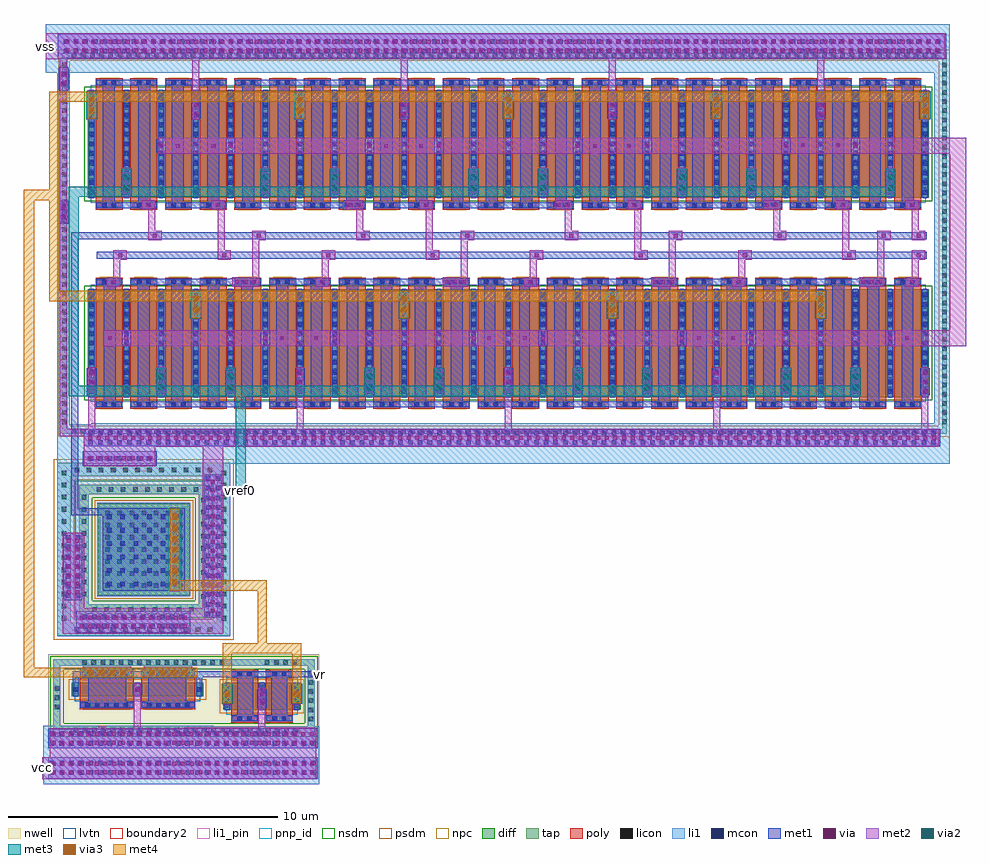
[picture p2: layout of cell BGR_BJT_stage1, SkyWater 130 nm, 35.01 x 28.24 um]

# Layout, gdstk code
import gdstk
lib = gdstk.Library(unit=1e-6, precision=1e-09)
def R(c, l, rs):  # rectangles x0, y0, x1, y1
    for r in rs: c.add(gdstk.rectangle(r[:2], r[2:], *l))
def A(c, l, x, y, w, h, nx, ny, dx, dy):  # array of equal rectangles
    R(c, l, [(x+i*dx, y+j*dy, x+i*dx+w, y+j*dy+h) for i in range(nx) for j in range(ny)])
def P(c, l, *ps):  # polygons
    for p in ps: c.add(gdstk.Polygon(p, *l))
nwell = (64, 20)
diff = (65, 20)
tap = (65, 44)
poly = (66, 20)
licon = (66, 44)
li1_pin = (67, 16)
li1 = (67, 20)
mcon = (67, 44)
met1 = (68, 20)
via = (68, 44)
met2 = (69, 20)
via2 = (69, 44)
met3 = (70, 20)
via3 = (70, 44)
met4 = (71, 20)
pnp_id = (82, 44)
nsdm = (93, 44)
psdm = (94, 20)
npc = (95, 20)
lvtn = (125, 44)
boundary2 = (236, 0)

sky130_fd_pr__pfet_01v8_ = lib.new_cell('sky130_fd_pr__pfet_01v8_lvt_KLHH7J')
R(sky130_fd_pr__pfet_01v8_, nwell, [(-1.47,-0.75,1.47,0.75)])
R(sky130_fd_pr__pfet_01v8_, diff, [(-1.29,-0.25,1.29,0.25)])
R(sky130_fd_pr__pfet_01v8_, poly, [(-1,-0.735,1,0.735)])
A(sky130_fd_pr__pfet_01v8_, licon, -0.765, -0.655, 0.17, 0.17, 5, 2, 0.34, 1.14)
R(sky130_fd_pr__pfet_01v8_, licon, [(-1.23,-0.085,-1.06,0.085), (1.06,-0.085,1.23,0.085)])
R(sky130_fd_pr__pfet_01v8_, li1, [(-1,-0.655,1,-0.485), (-1.23,-0.27,-1.06,0.27), (1.06,-0.27,1.23,0.27), (-1,0.485,1,0.655)])
A(sky130_fd_pr__pfet_01v8_, mcon, -0.805, -0.655, 0.17, 0.17, 5, 2, 0.36, 1.14)
R(sky130_fd_pr__pfet_01v8_, mcon, [(-1.23,-0.085,-1.06,0.085), (1.06,-0.085,1.23,0.085)])
R(sky130_fd_pr__pfet_01v8_, met1, [(-0.98,-0.685,0.98,-0.455), (-1.26,-0.25,-1.03,0.25), (1.03,-0.25,1.26,0.25), (-0.98,0.455,0.98,0.685)])
R(sky130_fd_pr__pfet_01v8_, psdm, [(-1.415,-0.375,1.415,0.375)])
R(sky130_fd_pr__pfet_01v8_, npc, [(-0.865,-0.755,0.865,-0.385), (-0.865,0.385,0.865,0.755)])
R(sky130_fd_pr__pfet_01v8_, lvtn, [(-1.18,-0.43,1.18,0.43)])

sky130_fd_pr__rf_pnp_05v = lib.new_cell('sky130_fd_pr__rf_pnp_05v5_W3p40L3p40')
R(sky130_fd_pr__rf_pnp_05v, nwell, [(0.765,0.765,5.935,5.935)])
R(sky130_fd_pr__rf_pnp_05v, diff, [(1.65,1.65,5.05,5.05)])
P(sky130_fd_pr__rf_pnp_05v, tap, [(0.945,0.945),(5.755,0.945),(5.755,5.755),(5.395,5.755),(5.395,1.305),(1.305,1.305),(1.305,5.395),(5.395,5.395),(5.395,5.755),(0.945,5.755)],
  [(0.13,0.13),(6.57,0.13),(6.57,6.57),(6.065,6.57),(6.065,0.635),(0.635,0.635),(0.635,6.065),(6.065,6.065),(6.065,6.57),(0.13,6.57)])
A(sky130_fd_pr__rf_pnp_05v, licon, 0.78, 0.29, 0.17, 0.17, 12, 2, 0.45, 5.935)
A(sky130_fd_pr__rf_pnp_05v, licon, 0.3, 0.71, 0.17, 0.17, 1, 13, 0, 0.45)
A(sky130_fd_pr__rf_pnp_05v, licon, 6.235, 0.71, 0.17, 0.17, 1, 13, 0, 0.45)
A(sky130_fd_pr__rf_pnp_05v, licon, 1.43, 1.04, 0.17, 0.17, 9, 1, 0.45, 0)
A(sky130_fd_pr__rf_pnp_05v, licon, 5.49, 1.51, 0.17, 0.17, 1, 9, 0, 0.45)
A(sky130_fd_pr__rf_pnp_05v, licon, 1.04, 1.605, 0.17, 0.17, 1, 9, 0, 0.45)
A(sky130_fd_pr__rf_pnp_05v, licon, 1.92, 1.92, 0.17, 0.17, 7, 7, 0.45, 0.45)
A(sky130_fd_pr__rf_pnp_05v, licon, 1.6, 5.49, 0.17, 0.17, 9, 1, 0.45, 0)
R(sky130_fd_pr__rf_pnp_05v, li1_pin, [(2.77,3.13,4.01,3.65), (2.95,5.51,3.54,5.71), (3.065,6.26,3.57,6.505)])
A(sky130_fd_pr__rf_pnp_05v, li1, 0.58, 0.21, 0.33, 0.33, 12, 1, 0.45, 0)
A(sky130_fd_pr__rf_pnp_05v, li1, 0.675, 0.24, 0.27, 0.27, 11, 2, 0.5, 5.96)
A(sky130_fd_pr__rf_pnp_05v, li1, 6.16, 0.54, 0.33, 0.33, 1, 13, 0, 0.45)
A(sky130_fd_pr__rf_pnp_05v, li1, 0.22, 0.63, 0.33, 0.33, 1, 13, 0, 0.45)
A(sky130_fd_pr__rf_pnp_05v, li1, 1.35, 0.96, 0.33, 0.33, 9, 1, 0.45, 0)
A(sky130_fd_pr__rf_pnp_05v, li1, 1.14, 0.985, 0.27, 0.27, 9, 1, 0.5, 0)
A(sky130_fd_pr__rf_pnp_05v, li1, 5.41, 1.43, 0.33, 0.33, 1, 9, 0, 0.45)
A(sky130_fd_pr__rf_pnp_05v, li1, 0.96, 1.525, 0.33, 0.33, 1, 9, 0, 0.45)
A(sky130_fd_pr__rf_pnp_05v, li1, 1.84, 1.84, 0.33, 0.33, 7, 7, 0.45, 0.45)
A(sky130_fd_pr__rf_pnp_05v, li1, 1.93, 1.93, 0.27, 0.27, 6, 6, 0.5, 0.5)
A(sky130_fd_pr__rf_pnp_05v, li1, 1.52, 5.41, 0.33, 0.33, 9, 1, 0.45, 0)
A(sky130_fd_pr__rf_pnp_05v, li1, 1.155, 5.44, 0.27, 0.27, 9, 1, 0.5, 0)
A(sky130_fd_pr__rf_pnp_05v, li1, 0.7, 6.165, 0.33, 0.33, 12, 1, 0.45, 0)
R(sky130_fd_pr__rf_pnp_05v, li1, [(1.615,1.615,5.085,5.085), (1.65,1.65,5.05,5.05)])
P(sky130_fd_pr__rf_pnp_05v, li1, [(0.13,0.13),(6.57,0.13),(6.57,6.57),(6.075,6.57),(6.075,0.625),(0.625,0.625),(0.625,6.075),(6.075,6.075),(6.075,6.57),(0.13,6.57)],
  [(0.945,0.945),(5.755,0.945),(5.755,5.755),(5.395,5.755),(5.395,1.305),(1.305,1.305),(1.305,5.395),(5.395,5.395),(5.395,5.755),(0.945,5.755)])
A(sky130_fd_pr__rf_pnp_05v, mcon, 1.98, 1.98, 0.17, 0.17, 6, 6, 0.5, 0.5)
A(sky130_fd_pr__rf_pnp_05v, met1, 1.93, 1.93, 0.27, 0.27, 6, 6, 0.5, 0.5)
R(sky130_fd_pr__rf_pnp_05v, met1, [(1.825,1.825,4.875,4.875)])
R(sky130_fd_pr__rf_pnp_05v, pnp_id, [(0.135,0.135,6.565,6.565)])
P(sky130_fd_pr__rf_pnp_05v, nsdm, [(0.805,0.805),(5.895,0.805),(5.895,5.895),(5.265,5.895),(5.265,1.435),(1.435,1.435),(1.435,5.265),(5.265,5.265),(5.265,5.895),(0.805,5.895)])
R(sky130_fd_pr__rf_pnp_05v, psdm, [(1.52,1.52,5.18,5.18)])
P(sky130_fd_pr__rf_pnp_05v, psdm, [(0,0),(6.7,0),(6.7,6.7),(5.935,6.7),(5.935,0.765),(0.765,0.765),(0.765,5.935),(5.935,5.935),(5.935,6.7),(0,6.7)])
R(sky130_fd_pr__rf_pnp_05v, boundary2, [(0.13,0.13,6.57,6.57)])
sky130_fd_pr__rf_pnp_05v.add(gdstk.Label('Emitter', (3.39,3.39), layer=67, texttype=5))
sky130_fd_pr__rf_pnp_05v.add(gdstk.Label('Collector', (3.32,6.38), layer=67, texttype=5))
sky130_fd_pr__rf_pnp_05v.add(gdstk.Label('Base', (3.245,5.61), layer=67, texttype=5))

c_sky130_fd_pr__pfet_01v8_ = lib.new_cell('sky130_fd_pr__pfet_01v8_lvt_QCPJZY')
R(c_sky130_fd_pr__pfet_01v8_, nwell, [(-0.97,-1,0.97,1)])
R(c_sky130_fd_pr__pfet_01v8_, diff, [(-0.79,-0.5,0.79,0.5)])
R(c_sky130_fd_pr__pfet_01v8_, poly, [(-0.5,-0.985,0.5,0.985)])
A(c_sky130_fd_pr__pfet_01v8_, licon, -0.73, -0.425, 0.17, 0.17, 1, 3, 0, 0.34)
A(c_sky130_fd_pr__pfet_01v8_, licon, 0.56, -0.425, 0.17, 0.17, 1, 3, 0, 0.34)
R(c_sky130_fd_pr__pfet_01v8_, licon, [(-0.255,-0.905,-0.085,-0.735), (0.085,-0.905,0.255,-0.735), (-0.255,0.735,-0.085,0.905), (0.085,0.735,0.255,0.905)])
R(c_sky130_fd_pr__pfet_01v8_, li1, [(-0.5,-0.905,0.5,-0.735), (-0.73,-0.52,-0.56,0.52), (0.56,-0.52,0.73,0.52), (-0.5,0.735,0.5,0.905)])
R(c_sky130_fd_pr__pfet_01v8_, mcon, [(-0.265,-0.905,-0.095,-0.735), (0.095,-0.905,0.265,-0.735), (-0.73,-0.265,-0.56,-0.095), (0.56,-0.265,0.73,-0.095), (-0.73,0.095,-0.56,0.265), (0.56,0.095,0.73,0.265), (-0.265,0.735,-0.095,0.905), (0.095,0.735,0.265,0.905)])
R(c_sky130_fd_pr__pfet_01v8_, met1, [(-0.48,-0.935,0.48,-0.705), (-0.76,-0.5,-0.53,0.5), (0.53,-0.5,0.76,0.5), (-0.48,0.705,0.48,0.935)])
R(c_sky130_fd_pr__pfet_01v8_, psdm, [(-0.915,-0.625,0.915,0.625)])
R(c_sky130_fd_pr__pfet_01v8_, npc, [(-0.355,-1.005,0.355,-0.635), (-0.355,0.635,0.355,1.005)])
R(c_sky130_fd_pr__pfet_01v8_, lvtn, [(-0.68,-0.68,0.68,0.68)])

sky130_fd_pr__nfet_01v8_ = lib.new_cell('sky130_fd_pr__nfet_01v8_lvt_UZ3GQ2')
R(sky130_fd_pr__nfet_01v8_, diff, [(-0.79,-2,0.79,2)])
R(sky130_fd_pr__nfet_01v8_, poly, [(-0.5,-2.44,0.5,2.44)])
A(sky130_fd_pr__nfet_01v8_, licon, -0.73, -1.785, 0.17, 0.17, 1, 11, 0, 0.34)
A(sky130_fd_pr__nfet_01v8_, licon, 0.56, -1.785, 0.17, 0.17, 1, 11, 0, 0.34)
R(sky130_fd_pr__nfet_01v8_, licon, [(-0.255,-2.36,-0.085,-2.19), (0.085,-2.36,0.255,-2.19), (-0.255,2.19,-0.085,2.36), (0.085,2.19,0.255,2.36)])
R(sky130_fd_pr__nfet_01v8_, li1, [(-0.5,-2.36,0.5,-2.19), (-0.73,-2.02,-0.56,2.02), (0.56,-2.02,0.73,2.02), (-0.5,2.19,0.5,2.36)])
A(sky130_fd_pr__nfet_01v8_, mcon, -0.73, -1.885, 0.17, 0.17, 1, 11, 0, 0.36)
A(sky130_fd_pr__nfet_01v8_, mcon, 0.56, -1.885, 0.17, 0.17, 1, 11, 0, 0.36)
R(sky130_fd_pr__nfet_01v8_, mcon, [(-0.265,-2.36,-0.095,-2.19), (0.095,-2.36,0.265,-2.19), (-0.265,2.19,-0.095,2.36), (0.095,2.19,0.265,2.36)])
R(sky130_fd_pr__nfet_01v8_, met1, [(-0.48,-2.39,0.48,-2.16), (-0.76,-2,-0.53,2), (0.53,-2,0.76,2), (-0.48,2.16,0.48,2.39)])
R(sky130_fd_pr__nfet_01v8_, nsdm, [(-0.915,-2.125,0.915,2.125)])
R(sky130_fd_pr__nfet_01v8_, npc, [(-0.355,-2.46,0.355,-2.09), (-0.355,2.09,0.355,2.46)])
R(sky130_fd_pr__nfet_01v8_, lvtn, [(-0.68,-2.18,0.68,2.18)])

bgr_bjt_stage1 = lib.new_cell('BGR_BJT_stage1')
R(bgr_bjt_stage1, nwell, [(27.67,-15.24,37.725,-15.235), (27.65,-15.235,37.725,-12.08), (27.65,-12.08,33.57,-12.075)])
R(bgr_bjt_stage1, tap, [(27.84,-15.02,37.545,-14.76), (27.84,-14.76,28.1,-12.51), (37.3,-14.76,37.545,-12.51), (27.84,-12.51,37.545,-12.27), (28.15,-3.88,61.03,-3.71), (28.15,-3.71,28.32,10.095), (60.86,-3.71,61.03,10.095), (28.15,10.095,61.03,10.265)])
A(bgr_bjt_stage1, licon, 28.6, -14.975, 0.17, 0.17, 25, 1, 0.34, 0)
A(bgr_bjt_stage1, licon, 37.335, -14.57, 0.17, 0.17, 1, 6, 0, 0.34)
A(bgr_bjt_stage1, licon, 27.885, -14.12, 0.17, 0.17, 1, 3, 0, 0.34)
A(bgr_bjt_stage1, licon, 28.915, -12.475, 0.17, 0.17, 16, 1, 0.34, 0)
A(bgr_bjt_stage1, licon, 35.7, -12.475, 0.17, 0.17, 4, 1, 0.34, 0)
A(bgr_bjt_stage1, licon, 28.525, -3.88, 0.17, 0.17, 95, 2, 0.34, 13.975)
A(bgr_bjt_stage1, licon, 28.15, -3.525, 0.17, 0.17, 1, 40, 0, 0.34)
A(bgr_bjt_stage1, licon, 60.86, -3.525, 0.17, 0.17, 1, 40, 0, 0.34)
R(bgr_bjt_stage1, li1, [(27.455,-16.9,37.72,-14.745), (27.455,-14.745,33.825,-14.735), (37.3,-14.745,37.545,-12.51), (27.455,-14.735,28.655,-14.73), (28.885,-14.735,33.825,-14.73), (27.84,-14.73,28.1,-12.51), (28.69,-13.64,28.76,-13.12), (27.84,-12.51,37.545,-12.27), (28.75,-11.245,32.875,-11.025), (33.535,-11.12,34.045,-11.025), (28.25,-11.025,34.045,-10.44), (28.33,-10.44,28.895,-10.015), (33.5,-10.44,34.045,-5.82), (28.265,-10.015,28.895,-7.62), (28.33,-7.62,28.895,-7.03), (28.33,-7.03,28.985,-5.82), (28.33,-5.82,34.125,-5.41), (28.33,-5.41,28.985,-5.38), (27.985,-5.105,28.88,-5.095), (31.36,-5.105,31.715,-5.095), (27.985,-5.095,31.715,-4.995), (27.985,-4.995,61.145,-4.535), (27.99,-4.535,61.145,-3.53), (27.99,-3.53,28.45,9.535), (29.25,-3.53,61.145,-3.495), (60.565,-3.495,61.145,9.535), (27.555,9.535,61.145,11.34)])
A(bgr_bjt_stage1, mcon, 27.71, -16.565, 0.17, 0.17, 28, 2, 0.36, 0.36)
A(bgr_bjt_stage1, mcon, 27.705, -15.47, 0.17, 0.17, 28, 1, 0.36, 0)
A(bgr_bjt_stage1, mcon, 27.705, -15.11, 0.17, 0.17, 26, 1, 0.36, 0)
A(bgr_bjt_stage1, mcon, 28.925, -11.14, 0.17, 0.17, 11, 2, 0.36, 0.36)
A(bgr_bjt_stage1, mcon, 33.505, -10.67, 0.17, 0.17, 1, 15, 0, 0.36)
A(bgr_bjt_stage1, mcon, 33.865, -10.67, 0.17, 0.17, 1, 15, 0, 0.36)
A(bgr_bjt_stage1, mcon, 28.3, -9.985, 0.17, 0.17, 1, 7, 0, 0.36)
A(bgr_bjt_stage1, mcon, 28.66, -9.985, 0.17, 0.17, 1, 7, 0, 0.36)
A(bgr_bjt_stage1, mcon, 29.145, -4.885, 0.17, 0.17, 7, 1, 0.36, 0)
A(bgr_bjt_stage1, mcon, 29.14, -4.3, 0.17, 0.17, 88, 2, 0.36, 0.36)
A(bgr_bjt_stage1, mcon, 28.23, 10.25, 0.17, 0.17, 91, 2, 0.36, 0.36)
R(bgr_bjt_stage1, mcon, [(28.135,4.085,28.305,4.255), (28.135,4.445,28.305,4.615), (28.135,9.025,28.305,9.195), (28.135,9.385,28.305,9.555)])
A(bgr_bjt_stage1, met1, 29.085, -2.46, 0.36, 1, 5, 1, 7.74, 0)
A(bgr_bjt_stage1, met1, 32.925, 0.42, 0.42, 1, 4, 1, 7.74, 0)
A(bgr_bjt_stage1, met1, 42.26, 1.625, 1.02, 0.015, 3, 2, 7.74, 0.245)
A(bgr_bjt_stage1, met1, 29.055, 7.825, 0.42, 1, 5, 1, 7.74, 0)
R(bgr_bjt_stage1, met1, [(27.65,-16.7,37.665,-15.9), (32.61,-15.57,37.66,-15.565), (27.645,-15.565,37.66,-14.845), (32.61,-14.845,37.66,-14.835), (34.68,-14.355,35.27,-12.935), (35.94,-14.35,36.53,-12.935), (35.41,-14.08,35.77,-13.38), (34.09,-13.9,34.51,-13.2), (36.67,-13.9,37.09,-13.2), (29.135,-13.865,30.545,-12.93), (31.37,-13.85,32.78,-12.935), (30.785,-13.58,31.145,-13.2), (28.56,-13.15,28.79,-12.935), (33.14,-13.145,33.37,-12.935), (28.56,-12.935,28.89,-12.925), (30.79,-12.935,31.135,-12.705), (31.37,-12.935,37.75,-12.925), (28.56,-12.925,30.78,-12.705), (31.155,-12.925,37.75,-12.705), (28.885,-12.705,30.78,-12.6), (31.155,-12.705,33.05,-12.6), (28.69,-11.275,32.935,-10.475), (33.47,-10.73,34.07,-10.67), (33.45,-10.67,34.09,-5.455), (28.235,-10.075,28.895,-10.015), (28.215,-10.015,28.915,-7.62), (32.115,-9.685,32.585,-6.685), (28.235,-7.62,28.895,-7.56), (28.505,-6.92,29.675,-6.66), (28.505,-6.66,28.765,3.35), (33.47,-5.455,34.07,-5.395), (28.935,-5.07,31.69,-4.53), (28.97,-4.345,60.8,-3.725), (31.675,-2.91,32.02,-2.68), (32.945,-2.91,33.315,-2.68), (34.25,-2.91,34.61,-2.68), (36.83,-2.91,37.18,-2.68), (39.405,-2.91,39.755,-2.68), (40.7,-2.91,41.05,-2.68), (41.995,-2.91,42.34,-2.68), (44.57,-2.91,44.93,-2.68), (47.155,-2.91,47.51,-2.68), (48.435,-2.91,48.8,-2.68), (49.725,-2.91,50.085,-2.68), (52.305,-2.91,52.66,-2.68), (54.895,-2.91,55.24,-2.68), (56.18,-2.91,56.54,-2.68), (57.475,-2.91,57.82,-2.68), (45.145,-2.715,45.55,1.625), (52.865,-2.71,53.395,1.625), (29.715,-2.705,30.155,1.625), (32.22,-2.705,32.66,1.68), (37.4,-2.705,37.84,1.625), (38.735,-2.705,39.175,1.68), (42.615,-2.705,43.055,1.625), (43.845,-2.705,44.25,1.665), (55.495,-2.705,55.935,1.68), (58.09,-2.705,58.53,1.625), (59.355,-2.705,59.795,1.625), (30.975,-2.695,31.415,1.69), (33.57,-2.695,34.01,1.69), (36.13,-2.695,36.57,1.69), (40,-2.695,40.44,1.69), (41.26,-2.695,41.7,1.69), (46.455,-2.695,46.895,1.69), (47.735,-2.695,48.175,1.69), (49.04,-2.695,49.48,1.69), (50.315,-2.695,50.755,1.625), (51.59,-2.695,52.12,1.685), (54.215,-2.695,54.655,1.69), (56.79,-2.695,57.23,1.69), (34.815,-2.685,35.255,1.625), (34.235,-2.46,34.615,-1.46), (39.395,-2.46,39.775,-1.46), (41.975,-2.46,42.355,-1.46), (47.135,-2.46,47.515,-1.46), (49.715,-2.46,50.095,-1.46), (54.875,-2.46,55.255,-1.46), (57.455,-2.46,57.835,-1.46), (31.655,-2.455,32.035,-1.455), (30.375,-0.585,30.735,-0.085), (35.535,-0.585,35.895,-0.085), (38.115,-0.585,38.475,-0.085), (43.275,-0.585,43.635,-0.085), (51.015,-0.585,51.375,-0.085), (53.595,-0.585,53.955,-0.085), (58.755,-0.585,59.115,-0.085), (45.855,-0.58,46.215,-0.08), (29.715,1.625,30.38,1.68), (34.44,1.625,35.54,1.64), (37.4,1.625,38.12,1.68), (45.145,1.625,45.86,1.655), (52.865,1.625,53.6,1.67), (59.355,1.625,60.05,1.68), (31.67,1.64,32.015,1.87), (32.965,1.64,33.31,1.87), (34.25,1.64,35.54,1.87), (36.83,1.64,37.18,1.87), (39.41,1.64,39.76,1.87), (40.705,1.64,41.055,1.87), (41.995,1.64,43.28,1.87), (44.565,1.64,44.925,1.87), (47.15,1.64,47.615,1.87), (48.39,1.64,48.8,1.87), (49.735,1.64,51.02,1.87), (52.315,1.64,52.67,1.87), (54.885,1.64,55.23,1.87), (56.175,1.64,56.535,1.87), (57.47,1.64,58.76,1.87), (45.26,1.655,45.86,1.885), (53,1.67,53.6,1.885), (29.78,1.68,30.38,1.885), (37.52,1.68,38.12,1.885), (59.45,1.68,60.05,1.885), (34.44,1.87,35.54,1.885), (29.46,2.625,60.29,2.885), (28.505,3.35,60.29,3.61), (28.055,3.92,28.385,3.98), (28.035,3.98,28.405,4.72), (38.615,4.43,38.84,4.48), (31.07,4.48,31.67,4.705), (33.65,4.48,34.25,4.695), (38.615,4.48,39.41,4.74), (41.39,4.48,41.99,4.695), (46.4,4.48,47.15,4.74), (49.13,4.48,49.73,4.705), (54.185,4.48,54.89,4.495), (56.87,4.48,57.47,4.725), (59.45,4.48,60.05,4.705), (30.385,4.495,30.735,4.725), (32.955,4.495,33.405,4.725), (35.535,4.495,35.92,4.725), (36.825,4.495,37.195,4.725), (38.125,4.495,38.57,4.725), (40.7,4.495,41.065,4.725), (43.275,4.495,43.64,4.725), (44.575,4.495,44.94,4.725), (45.86,4.495,46.315,4.725), (48.44,4.495,48.8,4.725), (51.025,4.495,51.385,4.725), (52.31,4.495,52.665,4.725), (53.6,4.495,54,4.725), (54.185,4.495,54.9,4.715), (55.23,4.495,55.245,4.725), (56.185,4.495,56.535,4.725), (58.76,4.495,59.115,4.725), (33.56,4.695,34.25,4.74), (34.865,4.695,35.305,9.08), (41.3,4.695,41.99,4.74), (47.745,4.695,48.185,9.08), (30.995,4.705,31.67,4.74), (37.43,4.705,37.87,9.09), (39.99,4.705,40.455,9.075), (43.905,4.705,44.345,9.09), (49.03,4.705,49.73,4.74), (50.365,4.705,50.805,9.09), (51.585,4.705,52.025,9.09), (52.91,4.705,53.35,9.09), (58.15,4.705,58.59,9.09), (59.365,4.705,60.05,4.74), (29.675,4.715,30.12,9.06), (32.24,4.715,32.685,9.06), (36.18,4.715,36.62,9.1), (42.625,4.715,43.065,9.1), (45.19,4.715,45.63,9.1), (54.165,4.715,54.9,4.725), (55.495,4.715,55.935,9.1), (28.055,4.72,28.385,4.78), (54.165,4.725,54.89,4.74), (56.78,4.725,57.47,4.74), (30.995,4.74,31.44,9.05), (33.56,4.74,34,9.08), (38.615,4.74,39.165,4.79), (41.3,4.74,41.74,9.08), (46.485,4.74,46.925,9.1), (49.03,4.74,49.47,9.09), (54.165,4.74,54.605,9.1), (56.78,4.74,57.22,9.11), (59.365,4.74,59.805,9.09), (38.725,4.79,39.165,9.1), (54.95,4.885,55.18,6.275), (30.365,4.945,30.745,5.945), (35.525,4.945,35.905,5.945), (38.105,4.945,38.485,5.945), (43.265,4.945,43.645,5.945), (45.845,4.945,46.225,5.945), (51.005,4.945,51.385,5.945), (53.585,4.945,53.965,5.945), (58.745,4.945,59.125,5.945), (53.66,6.425,53.89,7.205), (31.665,6.565,32.025,7.065), (34.245,6.565,34.605,7.065), (39.405,6.565,39.765,7.065), (41.985,6.565,42.345,7.065), (47.145,6.565,47.505,7.065), (49.725,6.565,50.085,7.065), (54.885,6.565,55.245,7.065), (57.465,6.565,57.825,7.065), (32.955,7.825,33.315,8.825), (40.695,7.825,41.055,8.825), (48.43,7.825,48.79,8.825), (56.175,7.825,56.535,8.825), (28.055,8.85,28.385,8.91), (28.035,8.91,28.405,9.67), (30.37,9.045,30.82,9.275), (32.945,9.045,33.325,9.275), (35.525,9.045,35.91,9.275), (36.825,9.045,37.195,9.275), (38.12,9.045,38.515,9.275), (40.7,9.045,41.065,9.275), (43.275,9.045,43.64,9.275), (44.575,9.045,44.94,9.275), (45.85,9.045,46.21,9.275), (48.44,9.045,48.8,9.275), (51.025,9.045,51.385,9.275), (52.31,9.045,52.665,9.275), (53.6,9.045,53.965,9.275), (56.185,9.045,56.535,9.275), (58.76,9.045,59.115,9.275), (28.055,9.67,28.385,9.73), (28.01,10.05,61.02,10.98)])
A(bgr_bjt_stage1, via, 27.78, -16.535, 0.15, 0.15, 31, 2, 0.32, 0.32)
A(bgr_bjt_stage1, via, 27.775, -15.44, 0.15, 0.15, 31, 2, 0.32, 0.32)
A(bgr_bjt_stage1, via, 29.115, -12.84, 0.15, 0.15, 5, 1, 0.32, 0)
A(bgr_bjt_stage1, via, 31.385, -12.84, 0.15, 0.15, 5, 1, 0.32, 0)
A(bgr_bjt_stage1, via, 28.815, -11.11, 0.15, 0.15, 13, 2, 0.32, 0.32)
A(bgr_bjt_stage1, via, 33.695, -10.54, 0.15, 0.15, 1, 16, 0, 0.32)
A(bgr_bjt_stage1, via, 28.33, -9.855, 0.15, 0.15, 1, 7, 0, 0.32)
A(bgr_bjt_stage1, via, 28.65, -9.855, 0.15, 0.15, 1, 7, 0, 0.32)
A(bgr_bjt_stage1, via, 32.275, -9.54, 0.15, 0.15, 1, 9, 0, 0.32)
A(bgr_bjt_stage1, via, 29.115, -4.875, 0.15, 0.15, 8, 1, 0.32, 0)
A(bgr_bjt_stage1, via, 29.13, -4.11, 0.15, 0.15, 99, 1, 0.32, 0)
A(bgr_bjt_stage1, via, 29.19, -2.355, 0.15, 0.15, 1, 3, 0, 0.32)
A(bgr_bjt_stage1, via, 34.35, -2.355, 0.15, 0.15, 11, 3, 2.58, 0.32)
A(bgr_bjt_stage1, via, 31.77, -2.35, 0.15, 0.15, 1, 3, 0, 0.32)
A(bgr_bjt_stage1, via, 33.06, 0.525, 0.15, 0.15, 4, 3, 7.74, 0.32)
A(bgr_bjt_stage1, via, 34.595, 1.68, 0.15, 0.15, 3, 1, 0.32, 0)
A(bgr_bjt_stage1, via, 42.375, 1.68, 0.15, 0.15, 3, 1, 0.32, 0)
A(bgr_bjt_stage1, via, 50.115, 1.68, 0.15, 0.15, 3, 1, 0.32, 0)
A(bgr_bjt_stage1, via, 57.855, 1.68, 0.15, 0.15, 3, 1, 0.32, 0)
A(bgr_bjt_stage1, via, 30.245, 2.68, 0.15, 0.15, 8, 1, 3.87, 0)
A(bgr_bjt_stage1, via, 31.535, 3.405, 0.15, 0.15, 8, 1, 3.87, 0)
A(bgr_bjt_stage1, via, 30.48, 5.05, 0.15, 0.15, 1, 3, 0, 0.32)
A(bgr_bjt_stage1, via, 35.64, 5.05, 0.15, 0.15, 1, 3, 0, 0.32)
A(bgr_bjt_stage1, via, 38.22, 5.05, 0.15, 0.15, 1, 3, 0, 0.32)
A(bgr_bjt_stage1, via, 43.38, 5.05, 0.15, 0.15, 1, 3, 0, 0.32)
A(bgr_bjt_stage1, via, 45.96, 5.05, 0.15, 0.15, 1, 3, 0, 0.32)
A(bgr_bjt_stage1, via, 51.12, 5.05, 0.15, 0.15, 1, 3, 0, 0.32)
A(bgr_bjt_stage1, via, 53.7, 5.05, 0.15, 0.15, 1, 3, 0, 0.32)
A(bgr_bjt_stage1, via, 58.86, 5.05, 0.15, 0.15, 1, 3, 0, 0.32)
A(bgr_bjt_stage1, via, 29.19, 7.93, 0.15, 0.15, 5, 3, 3.87, 0.32)
A(bgr_bjt_stage1, via, 48.535, 7.93, 0.15, 0.15, 1, 3, 0, 0.32)
A(bgr_bjt_stage1, via, 52.41, 7.93, 0.15, 0.15, 3, 3, 3.87, 0.32)
A(bgr_bjt_stage1, via, 28.28, 10.28, 0.15, 0.15, 102, 2, 0.32, 0.32)
R(bgr_bjt_stage1, via, [(35.515,-13.965,35.665,-13.815), (34.225,-13.785,34.375,-13.635), (36.805,-13.785,36.955,-13.635), (35.515,-13.645,35.665,-13.495), (30.89,-13.465,31.04,-13.315), (34.225,-13.465,34.375,-13.315), (36.805,-13.465,36.955,-13.315), (29.865,-0.42,30.015,-0.27), (45.275,-0.42,45.425,-0.27), (51.755,-0.42,51.905,-0.27), (30.48,-0.41,30.63,-0.26), (35.64,-0.41,35.79,-0.26), (38.22,-0.41,38.37,-0.26), (43.38,-0.41,43.53,-0.26), (43.965,-0.41,44.115,-0.26), (51.12,-0.41,51.27,-0.26), (53.03,-0.41,53.18,-0.26), (53.7,-0.41,53.85,-0.26), (58.86,-0.41,59.01,-0.26), (36.255,-0.405,36.405,-0.255), (45.96,-0.405,46.11,-0.255), (37.535,-0.4,37.685,-0.25), (59.49,-0.4,59.64,-0.25), (30.005,1.68,30.155,1.83), (37.745,1.68,37.895,1.83), (45.485,1.68,45.635,1.83), (53.225,1.68,53.375,1.83), (59.675,1.68,59.825,1.83), (59.915,2.68,60.065,2.83), (59.915,3.405,60.065,3.555), (28.145,4.115,28.295,4.265), (28.145,4.435,28.295,4.585), (31.295,4.535,31.445,4.685), (33.875,4.535,34.025,4.685), (38.81,4.535,38.96,4.685), (39.13,4.535,39.28,4.685), (41.615,4.535,41.765,4.685), (46.55,4.535,46.7,4.685), (46.87,4.535,47.02,4.685), (49.355,4.535,49.505,4.685), (54.29,4.535,54.44,4.685), (54.61,4.535,54.76,4.685), (57.095,4.535,57.245,4.685), (59.675,4.535,59.825,4.685), (47.9,6.73,48.05,6.88), (41.435,6.735,41.585,6.885), (31.77,6.74,31.92,6.89), (32.39,6.74,32.54,6.89), (33.715,6.74,33.865,6.89), (34.35,6.74,34.5,6.89), (39.51,6.74,39.66,6.89), (42.09,6.74,42.24,6.89), (47.25,6.74,47.4,6.89), (49.83,6.74,49.98,6.89), (54.99,6.74,55.14,6.89), (57.57,6.74,57.72,6.89), (40.125,6.745,40.275,6.895), (49.16,6.745,49.31,6.895), (55.615,6.755,55.765,6.905), (56.925,6.755,57.075,6.905), (28.145,9.055,28.295,9.205), (28.145,9.375,28.295,9.525)])
A(bgr_bjt_stage1, met2, 29.135, -3.705, 0.26, 2.295, 5, 1, 7.74, 0)
A(bgr_bjt_stage1, met2, 32.975, 0.37, 0.32, 1.1, 4, 1, 7.74, 0)
A(bgr_bjt_stage1, met2, 29.83, 1.575, 0.5, 0.36, 4, 1, 7.74, 0)
A(bgr_bjt_stage1, met2, 42.31, 1.575, 0.92, 0.36, 3, 1, 7.74, 0)
A(bgr_bjt_stage1, met2, 30.07, 1.935, 0.26, 0.64, 4, 1, 7.74, 0)
A(bgr_bjt_stage1, met2, 35.23, 1.935, 0.26, 1.365, 4, 1, 7.74, 0)
A(bgr_bjt_stage1, met2, 30.07, 2.575, 0.5, 0.36, 8, 1, 3.87, 0)
A(bgr_bjt_stage1, met2, 33.94, 2.935, 0.26, 1.495, 4, 1, 7.74, 0)
A(bgr_bjt_stage1, met2, 31.36, 3.3, 0.5, 0.36, 8, 1, 3.87, 0)
A(bgr_bjt_stage1, met2, 31.36, 3.66, 0.26, 0.77, 4, 1, 7.74, 0)
A(bgr_bjt_stage1, met2, 33.7, 4.43, 0.5, 0.36, 4, 1, 7.74, 0)
A(bgr_bjt_stage1, met2, 29.105, 7.775, 0.32, 1.1, 5, 1, 7.74, 0)
R(bgr_bjt_stage1, met2, [(27.42,-16.72,37.605,-15.9), (27.7,-15.9,37.605,-15.88), (27.7,-15.88,37.6,-15.155), (27.705,-15.155,37.6,-14.825), (29.535,-14.825,29.795,-14.73), (30.835,-14.825,31.095,-13.15), (32.67,-14.825,37.6,-14.815), (35.46,-14.815,35.72,-13.33), (34.14,-13.95,34.46,-13.15), (36.72,-13.95,37.04,-13.15), (28.935,-12.975,30.73,-12.55), (31.205,-12.975,33,-12.55), (28.19,-11.32,34.16,-10.37), (28.19,-10.37,28.995,-7.56), (33.39,-10.37,34.16,-4.365), (32.165,-9.735,32.535,-6.635), (28.97,-5.09,31.63,-4.365), (28.97,-4.365,60.74,-3.975), (28.085,-3.975,60.74,-3.705), (28.085,-3.705,28.355,10.03), (34.285,-2.51,34.565,-1.41), (39.445,-2.51,39.725,-1.41), (42.025,-2.51,42.305,-1.41), (47.185,-2.51,47.465,-1.41), (49.765,-2.51,50.045,-1.41), (54.925,-2.51,55.205,-1.41), (57.505,-2.51,57.785,-1.41), (31.705,-2.505,31.985,-1.405), (29.81,-0.645,30.07,-0.635), (45.22,-0.645,45.48,-0.635), (51.7,-0.645,51.96,-0.635), (29.69,-0.635,61.755,-0.035), (36.2,-0.035,36.46,-0.03), (37.48,-0.035,37.74,-0.025), (45.905,-0.035,46.165,-0.03), (59.435,-0.035,59.695,-0.025), (61.155,-0.035,61.755,6.515), (34.49,1.575,35.49,1.935), (59.5,1.575,60,1.935), (59.74,1.935,60,2.575), (59.74,2.575,60.24,2.935), (59.74,3.3,60.24,3.66), (59.74,3.66,60,4.43), (31.12,4.43,31.62,4.79), (38.7,4.43,39.36,4.79), (46.47,4.43,47.1,4.79), (54.215,4.43,54.84,4.79), (59.5,4.43,60,4.79), (30.415,4.895,30.695,5.995), (35.575,4.895,35.855,5.995), (38.155,4.895,38.435,5.995), (43.315,4.895,43.595,5.995), (45.895,4.895,46.175,5.995), (51.055,4.895,51.335,5.995), (53.635,4.895,53.915,5.995), (58.795,4.895,59.075,5.995), (47.845,6.505,48.105,6.515), (41.38,6.51,41.64,6.515), (31.715,6.515,61.755,7.115), (40.07,7.115,40.33,7.12), (49.105,7.115,49.365,7.12), (55.56,7.115,55.82,7.13), (56.87,7.115,57.13,7.12), (33.005,7.775,33.265,10.03), (40.745,7.775,41.005,10.03), (48.48,7.775,48.74,10.03), (56.225,7.775,56.485,10.03), (27.555,10.03,60.96,11)])
A(bgr_bjt_stage1, via2, 29.13, -12.865, 0.2, 0.2, 4, 1, 0.4, 0)
A(bgr_bjt_stage1, via2, 31.4, -12.865, 0.2, 0.2, 4, 1, 0.4, 0)
A(bgr_bjt_stage1, via2, 32.25, -9.485, 0.2, 0.2, 1, 7, 0, 0.4)
A(bgr_bjt_stage1, via2, 33.035, 0.62, 0.2, 0.2, 4, 2, 7.74, 0.4)
A(bgr_bjt_stage1, via2, 29.165, 8.025, 0.2, 0.2, 5, 2, 7.74, 0.4)
R(bgr_bjt_stage1, via2, [(34.2,-13.85,34.4,-13.65), (36.78,-13.85,36.98,-13.65), (34.2,-13.45,34.4,-13.25), (36.78,-13.45,36.98,-13.25), (34.325,-2.26,34.525,-2.06), (39.485,-2.26,39.685,-2.06), (42.065,-2.26,42.265,-2.06), (47.225,-2.26,47.425,-2.06), (49.805,-2.26,50.005,-2.06), (54.965,-2.26,55.165,-2.06), (57.545,-2.26,57.745,-2.06), (31.745,-2.255,31.945,-2.055), (34.325,-1.86,34.525,-1.66), (39.485,-1.86,39.685,-1.66), (42.065,-1.86,42.265,-1.66), (47.225,-1.86,47.425,-1.66), (49.805,-1.86,50.005,-1.66), (54.965,-1.86,55.165,-1.66), (57.545,-1.86,57.745,-1.66), (31.745,-1.855,31.945,-1.655), (30.455,5.145,30.655,5.345), (35.615,5.145,35.815,5.345), (38.195,5.145,38.395,5.345), (43.355,5.145,43.555,5.345), (45.935,5.145,46.135,5.345), (51.095,5.145,51.295,5.345), (53.675,5.145,53.875,5.345), (58.835,5.145,59.035,5.345), (30.455,5.545,30.655,5.745), (35.615,5.545,35.815,5.745), (38.195,5.545,38.395,5.745), (43.355,5.545,43.555,5.745), (45.935,5.545,46.135,5.745), (51.095,5.545,51.295,5.745), (53.675,5.545,53.875,5.745), (58.835,5.545,59.035,5.745)])
A(bgr_bjt_stage1, met3, 32.925, 0.395, 0.42, 1.05, 4, 1, 7.74, 0)
A(bgr_bjt_stage1, met3, 29.055, 7.8, 0.42, 1.05, 5, 1, 7.74, 0)
R(bgr_bjt_stage1, met3, [(34.09,-13.925,34.51,-13.175), (36.67,-13.925,37.09,-13.175), (28.885,-12.95,30.78,-12.575), (31.155,-12.95,33.05,-12.575), (32.115,-9.71,32.585,-6.66), (34.615,-6.02,34.995,-2.485), (28.415,-2.485,57.835,-2.105), (28.415,-2.105,28.785,4.93), (31.655,-2.105,32.035,-1.43), (34.235,-2.105,34.615,-1.435), (39.395,-2.105,39.775,-1.435), (41.975,-2.105,42.355,-1.435), (47.135,-2.105,47.515,-1.435), (49.715,-2.105,50.095,-1.435), (54.875,-2.105,55.255,-1.435), (57.455,-2.105,57.835,-1.435), (30.365,4.92,30.745,4.93), (35.525,4.92,35.905,4.93), (38.105,4.92,38.485,4.93), (43.265,4.92,43.645,4.93), (45.845,4.92,46.225,4.93), (51.005,4.92,51.385,4.93), (53.585,4.92,53.965,4.93), (58.425,4.92,59.125,4.93), (28.415,4.93,59.125,5.3), (30.365,5.3,30.745,5.97), (35.525,5.3,35.905,5.97), (38.105,5.3,38.485,5.97), (43.265,5.3,43.645,5.97), (45.845,5.3,46.225,5.97), (51.005,5.3,51.385,5.97), (53.585,5.3,53.965,5.97), (58.745,5.3,59.125,5.97)])
A(bgr_bjt_stage1, via3, 29.13, -12.865, 0.2, 0.2, 4, 1, 0.4, 0)
A(bgr_bjt_stage1, via3, 31.4, -12.865, 0.2, 0.2, 4, 1, 0.4, 0)
A(bgr_bjt_stage1, via3, 32.25, -9.485, 0.2, 0.2, 1, 7, 0, 0.4)
A(bgr_bjt_stage1, via3, 33.035, 0.62, 0.2, 0.2, 4, 2, 7.74, 0.4)
A(bgr_bjt_stage1, via3, 29.165, 8.025, 0.2, 0.2, 5, 2, 7.74, 0.4)
R(bgr_bjt_stage1, via3, [(34.2,-13.65,34.4,-13.45), (36.78,-13.65,36.98,-13.45)])
A(bgr_bjt_stage1, met4, 32.97, 0.415, 0.33, 0.63, 4, 1, 7.74, 0)
A(bgr_bjt_stage1, met4, 29.1, 7.82, 0.33, 0.63, 5, 1, 7.74, 0)
R(bgr_bjt_stage1, met4, [(34.135,-13.905,34.465,-12.05), (36.715,-13.905,37.045,-12.05), (26.745,-12.94,33.19,-12.575), (26.745,-12.575,27.125,4.79), (34.135,-12.05,37.045,-11.67), (35.44,-11.67,35.77,-9.71), (32.16,-9.71,35.77,-9.33), (32.16,-9.33,32.54,-6.68), (27.685,1.045,56.52,1.425), (27.685,1.425,28.065,4.79), (26.745,4.79,28.065,5.175), (27.685,5.175,28.065,8.45), (27.685,8.45,60.39,8.83)])
R(bgr_bjt_stage1, nsdm, [(27.715,-15.145,37.67,-14.635), (27.715,-14.635,28.225,-12.635), (37.175,-14.635,37.67,-12.635), (27.715,-12.635,37.67,-12.145)])
R(bgr_bjt_stage1, psdm, [(28.025,-4.005,61.155,-3.585), (28.025,-3.585,28.445,9.97), (60.735,-3.585,61.155,9.97), (28.025,9.97,61.155,10.39)])
bgr_bjt_stage1.add(gdstk.Reference(sky130_fd_pr__pfet_01v8_, (32.11,-13.39)))
bgr_bjt_stage1.add(gdstk.Reference(sky130_fd_pr__rf_pnp_05v, (27.85,-11.535)))
bgr_bjt_stage1.add(gdstk.Reference(sky130_fd_pr__pfet_01v8_, (29.82,-13.39)))
bgr_bjt_stage1.add(gdstk.Reference(c_sky130_fd_pr__pfet_01v8_, (34.945,-13.64)))
bgr_bjt_stage1.add(gdstk.Reference(c_sky130_fd_pr__pfet_01v8_, (36.235,-13.64)))
bgr_bjt_stage1.add(gdstk.Reference(sky130_fd_pr__nfet_01v8_, (32.49,-0.52)))
bgr_bjt_stage1.add(gdstk.Reference(sky130_fd_pr__nfet_01v8_, (33.78,-0.52)))
bgr_bjt_stage1.add(gdstk.Reference(sky130_fd_pr__nfet_01v8_, (31.2,-0.52)))
bgr_bjt_stage1.add(gdstk.Reference(sky130_fd_pr__nfet_01v8_, (35.07,-0.52)))
bgr_bjt_stage1.add(gdstk.Reference(sky130_fd_pr__nfet_01v8_, (29.91,-0.52)))
bgr_bjt_stage1.add(gdstk.Reference(sky130_fd_pr__nfet_01v8_, (40.23,-0.52)))
bgr_bjt_stage1.add(gdstk.Reference(sky130_fd_pr__nfet_01v8_, (41.52,-0.52)))
bgr_bjt_stage1.add(gdstk.Reference(sky130_fd_pr__nfet_01v8_, (38.94,-0.52)))
bgr_bjt_stage1.add(gdstk.Reference(sky130_fd_pr__nfet_01v8_, (36.36,-0.52)))
bgr_bjt_stage1.add(gdstk.Reference(sky130_fd_pr__nfet_01v8_, (37.65,-0.52)))
bgr_bjt_stage1.add(gdstk.Reference(sky130_fd_pr__nfet_01v8_, (47.97,-0.52)))
bgr_bjt_stage1.add(gdstk.Reference(sky130_fd_pr__nfet_01v8_, (42.81,-0.52)))
bgr_bjt_stage1.add(gdstk.Reference(sky130_fd_pr__nfet_01v8_, (46.68,-0.52)))
bgr_bjt_stage1.add(gdstk.Reference(sky130_fd_pr__nfet_01v8_, (44.1,-0.52)))
bgr_bjt_stage1.add(gdstk.Reference(sky130_fd_pr__nfet_01v8_, (45.39,-0.52)))
bgr_bjt_stage1.add(gdstk.Reference(sky130_fd_pr__nfet_01v8_, (49.26,-0.52)))
bgr_bjt_stage1.add(gdstk.Reference(sky130_fd_pr__nfet_01v8_, (50.55,-0.52)))
bgr_bjt_stage1.add(gdstk.Reference(sky130_fd_pr__nfet_01v8_, (54.42,-0.52)))
bgr_bjt_stage1.add(gdstk.Reference(sky130_fd_pr__nfet_01v8_, (51.84,-0.52)))
bgr_bjt_stage1.add(gdstk.Reference(sky130_fd_pr__nfet_01v8_, (53.13,-0.52)))
bgr_bjt_stage1.add(gdstk.Reference(sky130_fd_pr__nfet_01v8_, (59.58,-0.52)))
bgr_bjt_stage1.add(gdstk.Reference(sky130_fd_pr__nfet_01v8_, (55.71,-0.52)))
bgr_bjt_stage1.add(gdstk.Reference(sky130_fd_pr__nfet_01v8_, (57,-0.52)))
bgr_bjt_stage1.add(gdstk.Reference(sky130_fd_pr__nfet_01v8_, (58.29,-0.52)))
bgr_bjt_stage1.add(gdstk.Reference(sky130_fd_pr__nfet_01v8_, (32.49,6.885)))
bgr_bjt_stage1.add(gdstk.Reference(sky130_fd_pr__nfet_01v8_, (31.2,6.885)))
bgr_bjt_stage1.add(gdstk.Reference(sky130_fd_pr__nfet_01v8_, (29.91,6.885)))
bgr_bjt_stage1.add(gdstk.Reference(sky130_fd_pr__nfet_01v8_, (35.07,6.885)))
bgr_bjt_stage1.add(gdstk.Reference(sky130_fd_pr__nfet_01v8_, (33.78,6.885)))
bgr_bjt_stage1.add(gdstk.Reference(sky130_fd_pr__nfet_01v8_, (36.36,6.885)))
bgr_bjt_stage1.add(gdstk.Reference(sky130_fd_pr__nfet_01v8_, (37.65,6.885)))
bgr_bjt_stage1.add(gdstk.Reference(sky130_fd_pr__nfet_01v8_, (38.94,6.885)))
bgr_bjt_stage1.add(gdstk.Reference(sky130_fd_pr__nfet_01v8_, (40.23,6.885)))
bgr_bjt_stage1.add(gdstk.Reference(sky130_fd_pr__nfet_01v8_, (41.52,6.885)))
bgr_bjt_stage1.add(gdstk.Reference(sky130_fd_pr__nfet_01v8_, (44.1,6.885)))
bgr_bjt_stage1.add(gdstk.Reference(sky130_fd_pr__nfet_01v8_, (45.39,6.885)))
bgr_bjt_stage1.add(gdstk.Reference(sky130_fd_pr__nfet_01v8_, (42.81,6.885)))
bgr_bjt_stage1.add(gdstk.Reference(sky130_fd_pr__nfet_01v8_, (46.68,6.885)))
bgr_bjt_stage1.add(gdstk.Reference(sky130_fd_pr__nfet_01v8_, (47.97,6.885)))
bgr_bjt_stage1.add(gdstk.Reference(sky130_fd_pr__nfet_01v8_, (51.84,6.885)))
bgr_bjt_stage1.add(gdstk.Reference(sky130_fd_pr__nfet_01v8_, (53.13,6.885)))
bgr_bjt_stage1.add(gdstk.Reference(sky130_fd_pr__nfet_01v8_, (50.55,6.885)))
bgr_bjt_stage1.add(gdstk.Reference(sky130_fd_pr__nfet_01v8_, (54.42,6.885)))
bgr_bjt_stage1.add(gdstk.Reference(sky130_fd_pr__nfet_01v8_, (49.26,6.885)))
bgr_bjt_stage1.add(gdstk.Reference(sky130_fd_pr__nfet_01v8_, (59.58,6.885)))
bgr_bjt_stage1.add(gdstk.Reference(sky130_fd_pr__nfet_01v8_, (58.29,6.885)))
bgr_bjt_stage1.add(gdstk.Reference(sky130_fd_pr__nfet_01v8_, (55.71,6.885)))
bgr_bjt_stage1.add(gdstk.Reference(sky130_fd_pr__nfet_01v8_, (57,6.885)))
bgr_bjt_stage1.add(gdstk.Label('vcc', (27.425,-16.305), layer=69, texttype=5))
bgr_bjt_stage1.add(gdstk.Label('vss', (27.565,10.515), layer=69, texttype=5))
bgr_bjt_stage1.add(gdstk.Label('vref0', (34.78,-6.005), layer=70, texttype=5))
bgr_bjt_stage1.add(gdstk.Label('vr', (37.745,-12.815), layer=68, texttype=5))

lib.write_gds('BGR_BJT_stage1.gds')
